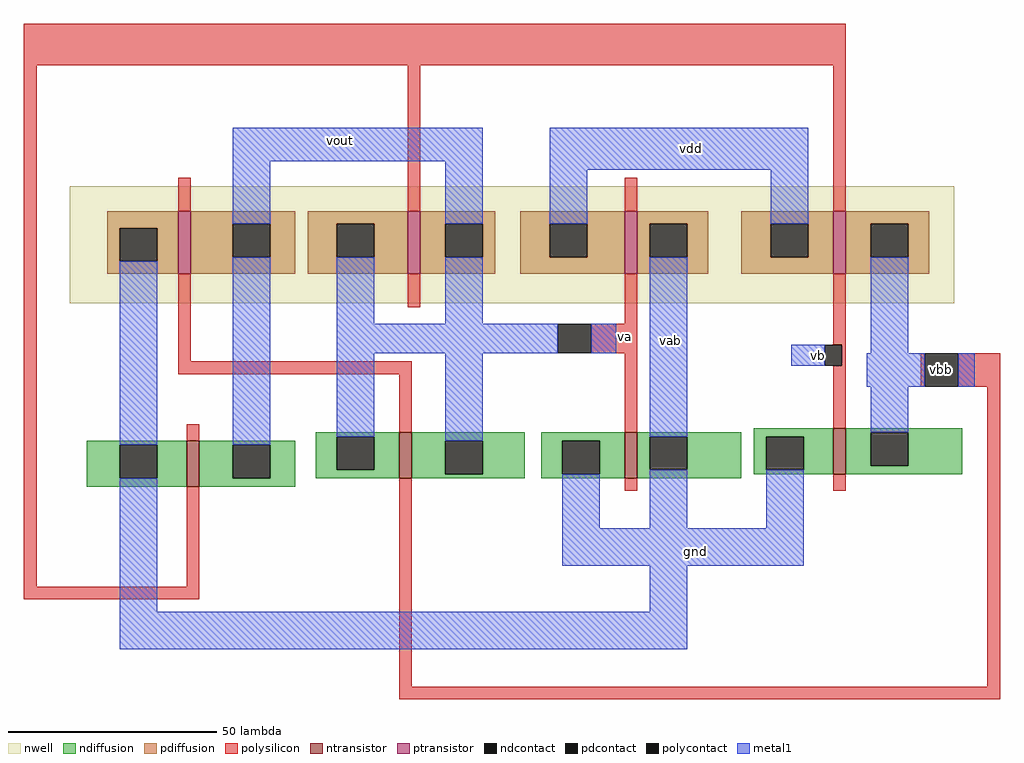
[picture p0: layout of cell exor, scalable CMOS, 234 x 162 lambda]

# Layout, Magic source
magic
tech scmos
<< nwell >>
rect -99 29 113 57
<< ntransistor >>
rect -71 -15 -68 -4
rect -20 -13 -17 -2
rect 34 -13 37 -2
rect 84 -12 87 -1
<< ptransistor >>
rect -73 36 -70 51
rect -18 36 -15 51
rect 34 36 37 51
rect 84 36 87 51
<< ndiffusion >>
rect -40 -3 -20 -2
rect -95 -5 -71 -4
rect -95 -13 -87 -5
rect -78 -13 -71 -5
rect -95 -15 -71 -13
rect -68 -5 -45 -4
rect -68 -13 -60 -5
rect -51 -13 -45 -5
rect -40 -11 -35 -3
rect -26 -11 -20 -3
rect -40 -13 -20 -11
rect -17 -4 10 -2
rect -17 -12 -9 -4
rect 0 -12 10 -4
rect -17 -13 10 -12
rect 14 -4 34 -2
rect 14 -12 19 -4
rect 28 -12 34 -4
rect 14 -13 34 -12
rect 37 -3 62 -2
rect 37 -11 40 -3
rect 49 -11 62 -3
rect 37 -13 62 -11
rect 65 -3 84 -1
rect 65 -11 68 -3
rect 77 -11 84 -3
rect 65 -12 84 -11
rect 87 -2 115 -1
rect 87 -10 93 -2
rect 102 -10 115 -2
rect 87 -12 115 -10
rect -68 -15 -45 -13
<< pdiffusion >>
rect -90 47 -73 51
rect -90 39 -87 47
rect -78 39 -73 47
rect -90 36 -73 39
rect -70 48 -45 51
rect -70 40 -60 48
rect -51 40 -45 48
rect -70 36 -45 40
rect -42 48 -18 51
rect -42 40 -35 48
rect -26 40 -18 48
rect -42 36 -18 40
rect -15 48 3 51
rect -15 40 -9 48
rect 0 40 3 48
rect -15 36 3 40
rect 9 48 34 51
rect 9 40 16 48
rect 25 40 34 48
rect 9 36 34 40
rect 37 48 54 51
rect 37 40 40 48
rect 49 40 54 48
rect 37 36 54 40
rect 62 48 84 51
rect 62 40 69 48
rect 78 40 84 48
rect 62 36 84 40
rect 87 48 107 51
rect 87 40 93 48
rect 102 40 107 48
rect 87 36 107 40
<< ndcontact >>
rect -87 -13 -78 -5
rect -60 -13 -51 -5
rect -35 -11 -26 -3
rect -9 -12 0 -4
rect 19 -12 28 -4
rect 40 -11 49 -3
rect 68 -11 77 -3
rect 93 -10 102 -2
<< pdcontact >>
rect -87 39 -78 47
rect -60 40 -51 48
rect -35 40 -26 48
rect -9 40 0 48
rect 16 40 25 48
rect 40 40 49 48
rect 69 40 78 48
rect 93 40 102 48
<< polysilicon >>
rect -110 86 87 96
rect -110 -39 -107 86
rect -73 51 -70 59
rect -18 51 -15 86
rect 34 51 37 59
rect 84 51 87 86
rect -73 15 -70 36
rect -18 28 -15 36
rect 34 24 37 36
rect 26 17 37 24
rect 84 19 87 36
rect -73 12 -17 15
rect -71 -4 -68 0
rect -20 -2 -17 12
rect 34 -2 37 17
rect 86 14 87 19
rect 84 -1 87 14
rect 105 9 106 17
rect 114 9 124 17
rect -71 -39 -68 -15
rect -110 -42 -68 -39
rect -20 -63 -17 -13
rect 34 -16 37 -13
rect 84 -16 87 -12
rect 121 -63 124 9
rect -20 -66 124 -63
<< polycontact >>
rect 18 17 26 24
rect 82 14 86 19
rect 106 9 114 17
<< metal1 >>
rect -60 63 0 71
rect -60 48 -51 63
rect -9 48 0 63
rect -87 -5 -78 39
rect -60 -5 -51 40
rect -35 24 -26 40
rect 16 61 78 71
rect 16 48 25 61
rect 69 48 78 61
rect -9 24 0 40
rect -35 17 18 24
rect 26 17 32 24
rect -35 -3 -26 17
rect -9 -4 0 17
rect 40 -3 49 40
rect 74 14 82 19
rect 93 17 102 40
rect 92 9 106 17
rect 114 9 118 17
rect 93 -2 102 9
rect -87 -45 -78 -13
rect 19 -25 28 -12
rect 40 -25 49 -11
rect 68 -25 77 -11
rect 19 -34 77 -25
rect 40 -45 49 -34
rect -87 -54 49 -45
<< labels >>
rlabel metal1 51 -31 51 -30 1 gnd
rlabel metal1 50 66 50 66 1 vdd
rlabel space 74 14 87 19 1 vb
rlabel polycontact 110 13 110 13 1 vbb
rlabel metal1 45 20 45 20 1 vab
rlabel polysilicon 34 21 34 21 1 va
rlabel metal1 -34 68 -34 68 1 vout
<< end >>
